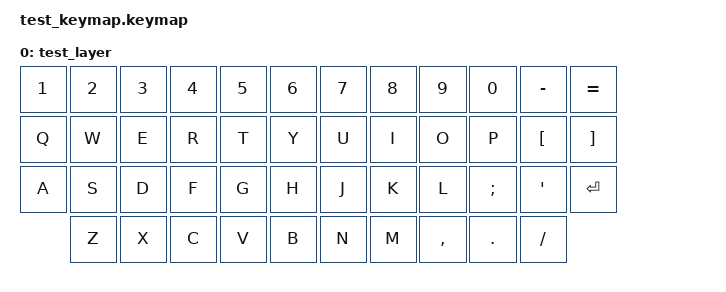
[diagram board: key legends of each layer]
/*
 * Copyright (c) 2023 Custom Split TEST
 *
 * SPDX-License-Identifier: MIT
 */

#include <behaviors.dtsi>
#include <dt-bindings/zmk/keys.h>
#include <dt-bindings/zmk/bt.h>

/ {
    keymap {
        compatible = "zmk,keymap";

        test_layer {
            // Test layout to verify matrix positions
            // Each key will type its position: R0C0, R0C1, etc.
            bindings = <
   &kp N1 &kp N2 &kp N3 &kp N4 &kp N5 &kp N6   &kp N7 &kp N8  &kp N9 &kp N0 &kp MINUS &kp EQUAL
   &kp Q  &kp W  &kp E  &kp R  &kp T  &kp Y    &kp U  &kp I   &kp O  &kp P  &kp LBKT  &kp RBKT
   &kp A  &kp S  &kp D  &kp F  &kp G  &kp H    &kp J  &kp K   &kp L  &kp SEMI &kp SQT &kp ENTER
          &kp Z  &kp X  &kp C  &kp V  &kp B    &kp N  &kp M   &kp COMMA &kp DOT &kp FSLH
            >;
        };
    };
};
